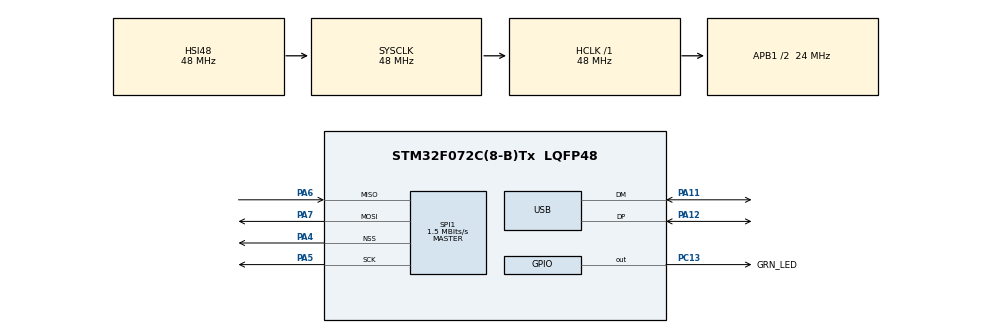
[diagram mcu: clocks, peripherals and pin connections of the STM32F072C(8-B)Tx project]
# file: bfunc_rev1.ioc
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Mcu.Family=STM32F0
Mcu.Name=STM32F072C(8-B)Tx
Mcu.Package=LQFP48
NVIC.TIM2_IRQn=true\:0\:0\:false\:false\:true\:true
NVIC.USB_IRQn=true\:0\:0\:false\:false\:true\:false
PA11.Mode=Device
PA11.Signal=USB_DM
PA12.Mode=Device
PA12.Signal=USB_DP
PA13.Mode=Serial_Wire
PA13.Signal=SYS_SWDIO
PA14.Mode=Serial_Wire
PA14.Signal=SYS_SWCLK
PA4.GPIO_Mode=GPIO_MODE_AF_PP
PA4.Mode=NSS_Signal_Hard_Output
PA4.Signal=SPI1_NSS
PA5.Mode=Full_Duplex_Master
PA5.Signal=SPI1_SCK
PA6.Mode=Full_Duplex_Master
PA6.Signal=SPI1_MISO
PA7.Mode=Full_Duplex_Master
PA7.Signal=SPI1_MOSI
PC13.GPIO_Label=GRN_LED
PC13.PinState=GPIO_PIN_RESET
PC13.Signal=GPIO_Output
ProjectManager.HeapSize=0x200
ProjectManager.StackSize=0x400
ProjectManager.TargetToolchain=Makefile
RCC.AHBFreq_Value=48000000
RCC.APB1CLKDivider=RCC_HCLK_DIV2
RCC.APB1Freq_Value=24000000
RCC.APB1TimFreq_Value=48000000
RCC.FLatency=FLASH_LATENCY_1
RCC.HCLKFreq_Value=48000000
RCC.SYSCLKFreq_VALUE=48000000
RCC.SYSCLKSource=RCC_SYSCLKSOURCE_HSI48
SPI1.BaudRatePrescaler=SPI_BAUDRATEPRESCALER_16
SPI1.CLKPolarity=SPI_POLARITY_HIGH
SPI1.CalculateBaudRate=1.5 MBits/s
SPI1.DataSize=SPI_DATASIZE_16BIT
SPI1.Direction=SPI_DIRECTION_2LINES
SPI1.Mode=SPI_MODE_MASTER
SPI1.VirtualNSS=VM_NSSHARD
SPI1.VirtualType=VM_MASTER
TIM2.Period=480
USB.ep0_mps=DEP0CTL_MPS_8
USB_DEVICE.CLASS_NAME_FS=CDC
USB_DEVICE.VirtualMode=Cdc
USB_DEVICE.VirtualModeFS=Cdc_FS
VP_TIM2_VS_ClockSourceINT.Mode=Internal
VP_USB_DEVICE_VS_USB_DEVICE_CDC_FS.Mode=CDC_FS
board=custom

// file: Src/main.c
/**
  ******************************************************************************
  * @file           : main_refactored.c
  * @brief          : Refactored main program body
  ******************************************************************************
  */

#include "main.h"
#include "stm32f0xx_hal.h"
#include "usb_device.h"
#include "waveform_controller.h"
#include "command_parser.h"

SPI_HandleTypeDef hspi1;
TIM_HandleTypeDef htim2;

/* Waveform controller instance */
waveform_controller_t waveform_controller;

/* Command buffer */
command_buffer_t cmd_buffer;

/* USB packet flag */
extern volatile uint8_t usb_packet_flag;

void SystemClock_Config(void);
static void MX_GPIO_Init(void);
static void MX_SPI1_Init(void);
static void MX_TIM2_Init(void);

/* USER CODE BEGIN 0 */

// Resets the chip in System Memory Bootloader mode
void dfu_run_bootloader()
{
    #define SYSMEM_RESET_VECTOR            0x1fffC804
    #define RESET_TO_BOOTLOADER_MAGIC_CODE 0xDEADBEEF

    extern uint32_t dfu_reset_to_bootloader_magic;
    dfu_reset_to_bootloader_magic = RESET_TO_BOOTLOADER_MAGIC_CODE;
    NVIC_SystemReset();
}

/* USER CODE END 0 */

int main(void)
{
  /* MCU Configuration----------------------------------------------------------*/
  HAL_Init();
  SystemClock_Config();

  /* Initialize all configured peripherals */
  MX_GPIO_Init();
  MX_SPI1_Init();
  MX_USB_DEVICE_Init();
  MX_TIM2_Init();

  /* USER CODE BEGIN 2 */

  // Initialize waveform controller
  if (WaveformController_Init(&waveform_controller, &hspi1, &htim2) != HAL_OK) {
      _Error_Handler(__FILE__, __LINE__);
  }

  // Initialize command parser
  CommandParser_InitBuffer(&cmd_buffer);

  // Initialize waveform to idle state
  WaveformController_SetState(&waveform_controller, WAVEFORM_IDLE);

  /* USER CODE END 2 */

  /* Infinite loop */
  while (1)
  {
    /* USER CODE BEGIN WHILE */

    // Process USB commands
    if (usb_packet_flag) {
        uint8_t rcv_buffer_index = 0;
        extern uint8_t UserRxBufferFS[];

        while (UserRxBufferFS[rcv_buffer_index] != '\0') {
            char c = UserRxBufferFS[rcv_buffer_index];
            UserRxBufferFS[rcv_buffer_index] = '\0';

            if (CommandParser_AddChar(&cmd_buffer, c)) {
                // Command complete, process it
                CommandParser_ProcessCommand(&cmd_buffer, &waveform_controller);
            }

            rcv_buffer_index++;
        }
        usb_packet_flag = 0;
    }

    /* USER CODE END WHILE */
  }
}

void SystemClock_Config(void)
{
  RCC_OscInitTypeDef RCC_OscInitStruct;
  RCC_ClkInitTypeDef RCC_ClkInitStruct;
  RCC_PeriphCLKInitTypeDef PeriphClkInit;

  RCC_OscInitStruct.OscillatorType = RCC_OSCILLATORTYPE_HSI48;
  RCC_OscInitStruct.HSI48State = RCC_HSI48_ON;
  RCC_OscInitStruct.PLL.PLLState = RCC_PLL_NONE;
  if (HAL_RCC_OscConfig(&RCC_OscInitStruct) != HAL_OK)
  {
    _Error_Handler(__FILE__, __LINE__);
  }

  RCC_ClkInitStruct.ClockType = RCC_CLOCKTYPE_HCLK|RCC_CLOCKTYPE_SYSCLK
                              |RCC_CLOCKTYPE_PCLK1;
  RCC_ClkInitStruct.SYSCLKSource = RCC_SYSCLKSOURCE_HSI48;
  RCC_ClkInitStruct.AHBCLKDivider = RCC_SYSCLK_DIV1;
  RCC_ClkInitStruct.APB1CLKDivider = RCC_HCLK_DIV2;

  if (HAL_RCC_ClockConfig(&RCC_ClkInitStruct, FLASH_LATENCY_1) != HAL_OK)
  {
    _Error_Handler(__FILE__, __LINE__);
  }

  PeriphClkInit.PeriphClockSelection = RCC_PERIPHCLK_USB;
  PeriphClkInit.UsbClockSelection = RCC_USBCLKSOURCE_HSI48;

  if (HAL_RCCEx_PeriphCLKConfig(&PeriphClkInit) != HAL_OK)
  {
    _Error_Handler(__FILE__, __LINE__);
  }

  HAL_SYSTICK_Config(HAL_RCC_GetHCLKFreq()/1000);
  HAL_SYSTICK_CLKSourceConfig(SYSTICK_CLKSOURCE_HCLK);
  HAL_NVIC_SetPriority(SysTick_IRQn, 0, 0);
}

/* SPI1 init function */
static void MX_SPI1_Init(void)
{
  hspi1.Instance = SPI1;
  hspi1.Init.Mode = SPI_MODE_MASTER;
  hspi1.Init.Direction = SPI_DIRECTION_2LINES;
  hspi1.Init.DataSize = SPI_DATASIZE_16BIT;
  hspi1.Init.CLKPolarity = SPI_POLARITY_HIGH;
  hspi1.Init.CLKPhase = SPI_PHASE_1EDGE;
  hspi1.Init.NSS = SPI_NSS_HARD_OUTPUT;
  hspi1.Init.BaudRatePrescaler = SPI_BAUDRATEPRESCALER_16;
  hspi1.Init.FirstBit = SPI_FIRSTBIT_MSB;
  hspi1.Init.TIMode = SPI_TIMODE_DISABLE;
  hspi1.Init.CRCCalculation = SPI_CRCCALCULATION_DISABLE;
  hspi1.Init.CRCPolynomial = 7;
  hspi1.Init.CRCLength = SPI_CRC_LENGTH_DATASIZE;
  hspi1.Init.NSSPMode = SPI_NSS_PULSE_ENABLE;
  if (HAL_SPI_Init(&hspi1) != HAL_OK)
  {
    _Error_Handler(__FILE__, __LINE__);
  }
}

/* TIM2 init function */
static void MX_TIM2_Init(void)
{
  TIM_ClockConfigTypeDef sClockSourceConfig;
  TIM_MasterConfigTypeDef sMasterConfig;

  htim2.Instance = TIM2;
  htim2.Init.Prescaler = 0;
  htim2.Init.CounterMode = TIM_COUNTERMODE_UP;
  htim2.Init.Period = 5000;
  htim2.Init.ClockDivision = TIM_CLOCKDIVISION_DIV1;
  htim2.Init.AutoReloadPreload = TIM_AUTORELOAD_PRELOAD_DISABLE;
  if (HAL_TIM_Base_Init(&htim2) != HAL_OK)
  {
    _Error_Handler(__FILE__, __LINE__);
  }

  sClockSourceConfig.ClockSource = TIM_CLOCKSOURCE_INTERNAL;
  if (HAL_TIM_ConfigClockSource(&htim2, &sClockSourceConfig) != HAL_OK)
  {
    _Error_Handler(__FILE__, __LINE__);
  }

  sMasterConfig.MasterOutputTrigger = TIM_TRGO_RESET;
  sMasterConfig.MasterSlaveMode = TIM_MASTERSLAVEMODE_DISABLE;
  if (HAL_TIMEx_MasterConfigSynchronization(&htim2, &sMasterConfig) != HAL_OK)
  {
    _Error_Handler(__FILE__, __LINE__);
  }
}

/** Configure pins */
static void MX_GPIO_Init(void)
{
  GPIO_InitTypeDef GPIO_InitStruct;

  __HAL_RCC_GPIOC_CLK_ENABLE();
  __HAL_RCC_GPIOA_CLK_ENABLE();

  HAL_GPIO_WritePin(GRN_LED_GPIO_Port, GRN_LED_Pin, GPIO_PIN_RESET);

  GPIO_InitStruct.Pin = GRN_LED_Pin;
  GPIO_InitStruct.Mode = GPIO_MODE_OUTPUT_PP;
  GPIO_InitStruct.Pull = GPIO_NOPULL;
  GPIO_InitStruct.Speed = GPIO_SPEED_FREQ_LOW;
  HAL_GPIO_Init(GRN_LED_GPIO_Port, &GPIO_InitStruct);
}

void _Error_Handler(char *file, int line)
{
  while(1)
  {
  }
}
